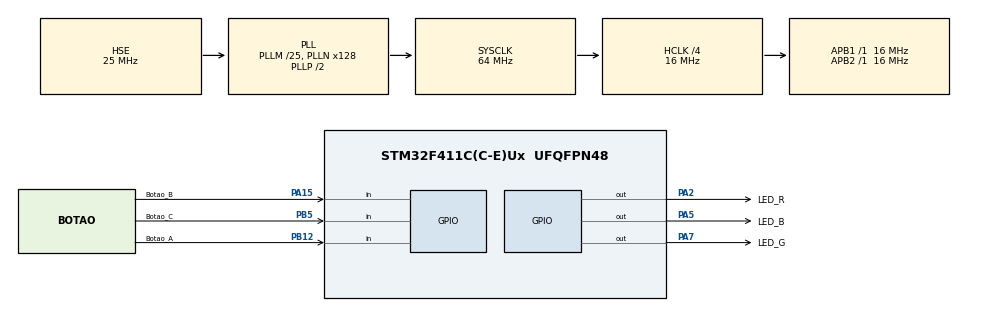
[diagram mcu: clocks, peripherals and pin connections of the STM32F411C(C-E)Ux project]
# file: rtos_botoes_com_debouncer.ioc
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FREERTOS.Tasks01=buttonTask,24,128,ButtonTask,Default,NULL,Dynamic,NULL,NULL
FREERTOS.configUSE_NEWLIB_REENTRANT=1
Mcu.Family=STM32F4
Mcu.Name=STM32F411C(C-E)Ux
Mcu.Package=UFQFPN48
NVIC.PriorityGroup=NVIC_PRIORITYGROUP_4
NVIC.TIM2_IRQn=true\:15\:0\:false\:false\:true\:false\:false\:true\:true
NVIC.TimeBase=TIM2_IRQn
NVIC.TimeBaseIP=TIM2
PA13.Mode=Serial_Wire
PA13.Signal=SYS_JTMS-SWDIO
PA14.Mode=Serial_Wire
PA14.Signal=SYS_JTCK-SWCLK
PA15.GPIO_Label=Botao_B
PA15.GPIO_PuPd=GPIO_PULLUP
PA15.Signal=GPIO_Input
PA2.GPIO_Label=LED_R
PA2.Signal=GPIO_Output
PA5.GPIO_Label=LED_B
PA5.Signal=GPIO_Output
PA7.GPIO_Label=LED_G
PA7.Signal=GPIO_Output
PB12.GPIO_Label=Botao_A
PB12.GPIO_PuPd=GPIO_PULLUP
PB12.Signal=GPIO_Input
PB5.GPIO_Label=Botao_C
PB5.GPIO_PuPd=GPIO_PULLUP
PB5.Signal=GPIO_Input
PH0\ -\ OSC_IN.Mode=HSE-External-Oscillator
PH0\ -\ OSC_IN.Signal=RCC_OSC_IN
PH1\ -\ OSC_OUT.Mode=HSE-External-Oscillator
PH1\ -\ OSC_OUT.Signal=RCC_OSC_OUT
ProjectManager.HeapSize=0x200
ProjectManager.StackSize=0x400
ProjectManager.TargetToolchain=STM32CubeIDE
RCC.48MHZClocksFreq_Value=32000000
RCC.AHBCLKDivider=RCC_SYSCLK_DIV4
RCC.AHBFreq_Value=16000000
RCC.APB1Freq_Value=16000000
RCC.APB1TimFreq_Value=16000000
RCC.APB2Freq_Value=16000000
RCC.APB2TimFreq_Value=16000000
RCC.CortexFreq_Value=16000000
RCC.HCLKFreq_Value=16000000
RCC.HSE_VALUE=25000000
RCC.HSI_VALUE=16000000
RCC.LSE_VALUE=32768
RCC.PLLM=25
RCC.PLLN=128
RCC.PLLSourceVirtual=RCC_PLLSOURCE_HSE
RCC.SYSCLKFreq_VALUE=64000000
RCC.SYSCLKSource=RCC_SYSCLKSOURCE_PLLCLK
RCC.VCOOutputFreq_Value=128000000
VP_FREERTOS_VS_CMSIS_V2.Mode=CMSIS_V2
VP_SYS_VS_tim2.Mode=TIM2
board=custom

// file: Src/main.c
/* USER CODE BEGIN Header */
/**
  ******************************************************************************
  * @file           : main.c
  * @brief          : Este projeto realiza as mesmas tarefas do projeto "botoes_com_debounce"
  * 				Os códigos foram desenvolvidos em cima dos códigos gerados pelo STM32CubeMX.
  * @author			: Wu Shin Ting
  * @date			: 19/03/2026
  ******************************************************************************
  * @attention
  *
  * Copyright (c) 2026 STMicroelectronics.
  * All rights reserved.
  *
  * This software is licensed under terms that can be found in the LICENSE file
  * in the root directory of this software component.
  * If no LICENSE file comes with this software, it is provided AS-IS.
  *
  ******************************************************************************
  */
/* USER CODE END Header */
#include "main.h"
#include "cmsis_os.h"
#include "gpio.h"

void SystemClock_Config(void);
void MX_FREERTOS_Init(void);

int main(void)
{

  /* MCU Configuration--------------------------------------------------------*/

  /* Reset of all peripherals, Initializes the Flash interface and the Systick. */
  HAL_Init();

  /* Configure the system clock */
  SystemClock_Config();

  /* Initialize all configured peripherals */
  MX_GPIO_Init();

  /* Init scheduler */
  osKernelInitialize();  /* Call init function for freertos objects (in cmsis_os2.c) */
  MX_FREERTOS_Init();

  /* Start scheduler */
  osKernelStart();

  /* We should never get here as control is now taken by the scheduler */

  /* Infinite loop */
  while (1)
  {

  }
}

void SystemClock_Config(void)
{
  RCC_OscInitTypeDef RCC_OscInitStruct = {0};
  RCC_ClkInitTypeDef RCC_ClkInitStruct = {0};

  /** Configure the main internal regulator output voltage
  */
  __HAL_RCC_PWR_CLK_ENABLE();
  __HAL_PWR_VOLTAGESCALING_CONFIG(PWR_REGULATOR_VOLTAGE_SCALE1);

  /** Initializes the RCC Oscillators according to the specified parameters
  * in the RCC_OscInitTypeDef structure.
  */
  RCC_OscInitStruct.OscillatorType = RCC_OSCILLATORTYPE_HSE;
  RCC_OscInitStruct.HSEState = RCC_HSE_ON;
  RCC_OscInitStruct.PLL.PLLState = RCC_PLL_ON;
  RCC_OscInitStruct.PLL.PLLSource = RCC_PLLSOURCE_HSE;
  RCC_OscInitStruct.PLL.PLLM = 25;
  RCC_OscInitStruct.PLL.PLLN = 128;
  RCC_OscInitStruct.PLL.PLLP = RCC_PLLP_DIV2;
  RCC_OscInitStruct.PLL.PLLQ = 4;
  if (HAL_RCC_OscConfig(&RCC_OscInitStruct) != HAL_OK)
  {
    Error_Handler();
  }

  /** Initializes the CPU, AHB and APB buses clocks
  */
  RCC_ClkInitStruct.ClockType = RCC_CLOCKTYPE_HCLK|RCC_CLOCKTYPE_SYSCLK
                              |RCC_CLOCKTYPE_PCLK1|RCC_CLOCKTYPE_PCLK2;
  RCC_ClkInitStruct.SYSCLKSource = RCC_SYSCLKSOURCE_PLLCLK;
  RCC_ClkInitStruct.AHBCLKDivider = RCC_SYSCLK_DIV4;
  RCC_ClkInitStruct.APB1CLKDivider = RCC_HCLK_DIV1;
  RCC_ClkInitStruct.APB2CLKDivider = RCC_HCLK_DIV1;

  if (HAL_RCC_ClockConfig(&RCC_ClkInitStruct, FLASH_LATENCY_0) != HAL_OK)
  {
    Error_Handler();
  }
}

void HAL_TIM_PeriodElapsedCallback(TIM_HandleTypeDef *htim)
{
  if (htim->Instance == TIM2)
  {
    HAL_IncTick();
  }
}

void Error_Handler(void)
{
  __disable_irq();
  while (1)
  {
  }
}

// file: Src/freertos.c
/* USER CODE BEGIN Header */
/**
  ******************************************************************************
  * @file       : freertos.c
  * @brief      : Controle de LED RGB por Botões (versão RTOS de botoes_com_debouncer)
  * @author 	: Wu Shin Ting
  * @date		: 19/03/2026
  ******************************************************************************
  * @attention
  *
  * Copyright (c) 2026 STMicroelectronics.
  * All rights reserved.
  *
  * This software is licensed under terms that can be found in the LICENSE file
  * in the root directory of this software component.
  * If no LICENSE file comes with this software, it is provided AS-IS.
  *
  ******************************************************************************
  * @section overview Visão Geral
  *
  * Este arquivo contém a configuração e implementação de uma aplicação simples
  * utilizando FreeRTOS em um microcontrolador STM32.
  *
  * A maior parte da estrutura (inicialização do kernel, criação de tarefas, etc.)
  * foi gerada automaticamente pelo STM32CubeMX.
  *
  * @section user_code Código Implementado Manualmente
  *
  * As seguintes funções foram implementadas manualmente:
  * - AllLedsOff()
  * - SetLedOnly()
  * - ButtonTask()
  *
  * Todas as demais estruturas e funções foram geradas automaticamente pelo CubeMX.
  *
  * @section mental_model Modelo Mental do Sistema
  *
  * Apesar de utilizar FreeRTOS, o sistema foi modelado de forma **não concorrente**,
  * com apenas uma única tarefa responsável por toda a lógica da aplicação.
  *
  * A tarefa ButtonTask executa continuamente um loop infinito realizando:
  *
  * 1. Leitura sequencial (polling) dos três botões
  * 2. Decisão de qual LED deve ser acionado
  * 3. Atualização do LED RGB
  *
  * Características importantes do modelo:
  *
  * - Não há concorrência entre tarefas
  * - Não há uso de filas, semáforos ou mutexes
  * - A lógica é determinística e sequencial
  * - O sistema se comporta como um "superloop", porém encapsulado em uma tarefa RTOS
  *
  * @section cube_config Configuração no CubeMX
  *
  * No STM32CubeMX, o sistema foi definido como:
  *
  * - Uma única tarefa: "buttonTask"
  * - Prioridade: Normal
  * - Stack: 512 bytes
  *
  * Essa abordagem é útil para introdução ao FreeRTOS, permitindo focar:
  *
  * - No conceito de tarefas
  * - Na estrutura básica do sistema operacional
  *
  * antes de evoluir para sistemas concorrentes mais complexos.
  *
  */
/* USER CODE END Header */

#include "FreeRTOS.h"
#include "task.h"
#include "main.h"
#include "cmsis_os.h"

/* USER CODE BEGIN PD */
/**
 * @brief Tempo de debounce (em milissegundos) para filtragem do botão.
 */
#define DEBOUNCE_MS  20

/* USER CODE END PD */

/* Definitions for buttonTask */
osThreadId_t buttonTaskHandle;
const osThreadAttr_t buttonTask_attributes = {
  .name = "buttonTask",
  .stack_size = 128 * 4,
  .priority = (osPriority_t) osPriorityNormal,
};

void ButtonTask(void *argument);

void MX_FREERTOS_Init(void); /* (MISRA C 2004 rule 8.1) */

void MX_FREERTOS_Init(void) {

  /* Create the thread(s) */
  /* creation of buttonTask */
  buttonTaskHandle = osThreadNew(ButtonTask, NULL, &buttonTask_attributes);

}

/* USER CODE BEGIN Header_ButtonTask */
/* ===================== FUNÇÕES AUXILIARES ===================== */
/**
 * @brief Desliga todos os LEDs do LED RGB.
 *
 * @note Função implementada manualmente pelo usuário.
 */
static void AllLedsOff(void)
{
    HAL_GPIO_WritePin(GPIOA, LED_R_Pin | LED_B_Pin | LED_G_Pin, GPIO_PIN_RESET);
}

/**
 * @brief Liga apenas um LED específico, desligando os demais.
 *
 * @param led_pin Pino correspondente ao LED a ser ligado
 *
 * @note Função implementada manualmente pelo usuário.
 */
static void SetLedOnly(uint16_t led_pin)
{
    AllLedsOff();
    HAL_GPIO_WritePin(GPIOA, led_pin, GPIO_PIN_SET);
}

/**
  * @brief Tarefa responsável pela leitura dos botões e controle do LED RGB.
  *
  * Esta tarefa executa continuamente um loop infinito realizando polling
  * dos botões e atualizando o LED correspondente.
  *
  * Lógica de funcionamento:
  * - Botão A pressionado → LED vermelho
  * - Botão B pressionado → LED azul
  * - Botão C pressionado → LED verde
  * - Nenhum botão → todos LEDs apagados
  *
  * @param argument Parâmetro não utilizado
  *
  * @note Função implementada manualmente pelo usuário.
  */
/* USER CODE END Header_ButtonTask */
void ButtonTask(void *argument)
{
  /* USER CODE BEGIN ButtonTask */
	AllLedsOff();

	/* Infinite loop */
	for(;;)
	{
//        HAL_GPIO_TogglePin(GPIOA, LED_R_Pin);
//        osDelay(500);

		if (!HAL_GPIO_ReadPin(Botao_A_GPIO_Port, Botao_A_Pin))
		{
			SetLedOnly(LED_R_Pin);
		}
		else if (!HAL_GPIO_ReadPin(Botao_B_GPIO_Port, Botao_B_Pin))
		{
			SetLedOnly(LED_B_Pin);
		}
		else if (!HAL_GPIO_ReadPin(Botao_C_GPIO_Port, Botao_C_Pin))
		{
			SetLedOnly(LED_G_Pin);
		}
		else
		{
			AllLedsOff();
		}

//		osDelay(1);
	}
  /* USER CODE END ButtonTask */
}
